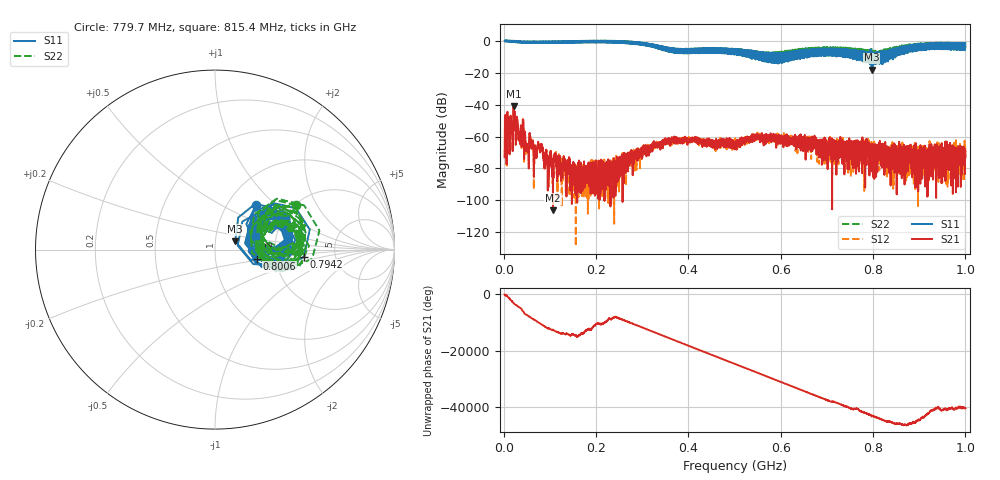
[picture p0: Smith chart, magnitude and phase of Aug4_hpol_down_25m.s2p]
!Keysight Technologies N9923A: A.12.45
!Date: Tuesday, 05 August 2025 18:31:15
!Timezone: (UTC+08:00) Kuala Lumpur, Singapore
!Model: N9923A
!Serial: MY61181427
!GPS Latitude:
!GPS Longitude:
!GPS TimeStamp: 0001-01-01 00:00:00Z
!GPS Seconds Since Last Read: 0
!CHECKSUM:0483144678
!Correction: S11(ON U)S21(ON U)S12(ON U)S22(ON U)
!S2P File: Measurements:S11,S21,S12,S22:
# Hz S DB R 50
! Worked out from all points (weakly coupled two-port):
!   4001 points, 2 MHz to 1 GHz, reference 50 ohm
!   highest |S21| = -40.89 dB at 21.46 MHz (marker M1); lowest = -106.2 dB at 106.8 MHz (marker M2)
!   lowest |S11| = -18.2 dB at 796.9 MHz (marker M3), VSWR 1.28, Z = 62.4 + j5.97 ohm
!   |S11| at or under -10 dB: 569.077 MHz to 569.8668 MHz (789.8 kHz wide, 0.139 % of centre); 575.8264 MHz to 576.659 MHz (832.6 kHz wide, 0.144 % of centre); 582.5626 MHz to 583.4049 MHz (842.3 kHz wide, 0.144 % of centre)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
!   |S22| runs from -13.7 to 0.1 dB; largest |S21 - S12| = 0.0013
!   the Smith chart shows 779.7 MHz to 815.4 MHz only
!   S11 on the Smith chart (normalised r, x): 779.7 MHz: 1.35, +0.76; 794.2 MHz: 2.94, -0.31; 800.6 MHz: 1.60, -0.18; 815.4 MHz: 1.57, +0.26
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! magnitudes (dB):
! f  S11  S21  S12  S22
! 2 MHz  -0.1  -73.0  -72.4  -0.1
! 12.48 MHz  -0.5  -70.7  -69.9  -0.7
! 21.46 MHz  -0.7  -40.9  -41.2  -0.7
! 41.67 MHz  -0.6  -49.3  -49.2  -0.5
! 49.41 MHz  -1.4  -64.5  -65.9  -1.2
! 78.6 MHz  -0.6  -70.0  -68.2  -0.5
! 92.82 MHz  -1.3  -69.1  -70.7  -1.3
! 106.8 MHz  -0.9  -106.2  -89.3  -0.8
! 168.4 MHz  -1.2  -82.4  -78.1  -1.0
! 247.5 MHz  -1.4  -79.1  -78.4  -1.2
! 334.8 MHz  -4.0  -64.9  -64.3  -4.7
! 501 MHz  -6.0  -64.5  -65.5  -6.9
! 549.2 MHz  -11.6  -58.9  -62.4  -8.8
! 667.4 MHz  -8.8  -61.8  -65.4  -8.3
! 779.7 MHz  -9.4  -63.4  -65.2  -5.8
! 794.2 MHz  -6.1  -67.1  -71.8  -10.6
! 796.9 MHz  -18.2  -64.5  -63.6  -7.0
! 800.6 MHz  -12.4  -67.5  -70.3  -11.6
! 815.4 MHz  -12.3  -73.2  -64.9  -7.1
! 833.8 MHz  -9.1  -73.2  -69.6  -5.4
! 988.8 MHz  -4.7  -74.6  -74.0  -1.7
! 1 GHz  -1.7  -71.7  -66.8  -3.3
